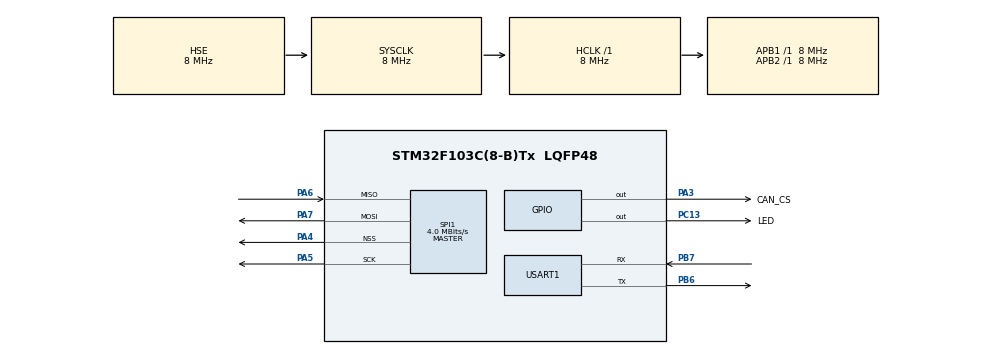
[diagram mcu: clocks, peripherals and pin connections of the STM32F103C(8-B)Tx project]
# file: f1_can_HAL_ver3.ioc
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Mcu.Family=STM32F1
Mcu.Name=STM32F103C(8-B)Tx
Mcu.Package=LQFP48
NVIC.PriorityGroup=NVIC_PRIORITYGROUP_4
PA13.Mode=Serial_Wire
PA13.Signal=SYS_JTMS-SWDIO
PA14.Mode=Serial_Wire
PA14.Signal=SYS_JTCK-SWCLK
PA3.GPIO_Label=CAN_CS
PA3.Signal=GPIO_Output
PA4.Mode=NSS_Signal_Hard_Output
PA4.Signal=SPI1_NSS
PA5.Mode=Full_Duplex_Master
PA5.Signal=SPI1_SCK
PA6.Mode=Full_Duplex_Master
PA6.Signal=SPI1_MISO
PA7.Mode=Full_Duplex_Master
PA7.Signal=SPI1_MOSI
PB6.Mode=Asynchronous
PB6.Signal=USART1_TX
PB7.Mode=Asynchronous
PB7.Signal=USART1_RX
PC13-TAMPER-RTC.GPIO_Label=LED
PC13-TAMPER-RTC.Signal=GPIO_Output
PD0-OSC_IN.Mode=HSE-External-Oscillator
PD0-OSC_IN.Signal=RCC_OSC_IN
PD1-OSC_OUT.Mode=HSE-External-Oscillator
PD1-OSC_OUT.Signal=RCC_OSC_OUT
ProjectManager.HeapSize=0x200
ProjectManager.StackSize=0x400
ProjectManager.TargetToolchain=STM32CubeIDE
RCC.AHBFreq_Value=8000000
RCC.APB1Freq_Value=8000000
RCC.APB1TimFreq_Value=8000000
RCC.APB2Freq_Value=8000000
RCC.APB2TimFreq_Value=8000000
RCC.HCLKFreq_Value=8000000
RCC.PLLMUL=RCC_PLL_MUL4
RCC.SYSCLKFreq_VALUE=8000000
RCC.SYSCLKSource=RCC_SYSCLKSOURCE_HSE
RCC.USBFreq_Value=16000000
SPI1.CalculateBaudRate=4.0 MBits/s
SPI1.Direction=SPI_DIRECTION_2LINES
SPI1.Mode=SPI_MODE_MASTER
SPI1.VirtualNSS=VM_NSSHARD
SPI1.VirtualType=VM_MASTER
USART1.VirtualMode=VM_ASYNC
board=custom

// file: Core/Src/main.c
/* USER CODE BEGIN Header */
/**
  ******************************************************************************
  * @file           : main.c
  * @brief          : Main program body
  ******************************************************************************
  * @attention
  *
  * Copyright (c) 2024 STMicroelectronics.
  * All rights reserved.
  *
  * This software is licensed under terms that can be found in the LICENSE file
  * in the root directory of this software component.
  * If no LICENSE file comes with this software, it is provided AS-IS.
  *
  ******************************************************************************
  */
/* USER CODE END Header */
#include "main.h"

/* USER CODE BEGIN Includes */
#include "CANSPI.h"
/* USER CODE END Includes */

SPI_HandleTypeDef hspi1;

UART_HandleTypeDef huart1;

/* USER CODE BEGIN PV */
uCAN_MSG txMessage;
uCAN_MSG rxMessage;
uint8_t msg[30] = "Initialization fail\n";
uint8_t msg1[30] = "Success\n";
uint8_t msg2[30] = "Fail\n";
uint8_t data_out[8] = {0, 1, 2, 3, 4, 5, 6, 7};
/* USER CODE END PV */

void SystemClock_Config(void);
static void MX_GPIO_Init(void);
static void MX_SPI1_Init(void);
static void MX_USART1_UART_Init(void);

int main(void)
{

  /* MCU Configuration--------------------------------------------------------*/

  /* Reset of all peripherals, Initializes the Flash interface and the Systick. */
  HAL_Init();

  /* Configure the system clock */
  SystemClock_Config();

  /* Initialize all configured peripherals */
  MX_GPIO_Init();
  MX_SPI1_Init();
  MX_USART1_UART_Init();
  /* USER CODE BEGIN 2 */
  if (!CANSPI_Initialize())
      {
        while (1)
        {

          HAL_UART_Transmit(&huart1, msg, 30, 100);
          HAL_Delay(200);
        }
      }
  HAL_Delay(3000);
  /* USER CODE END 2 */

  /* Infinite loop */
  while (1)
  {

    /* USER CODE BEGIN 3 */
//	  	  txMessage.frame.idType = dSTANDARD_CAN_MSG_ID_2_0B;
//	  	      txMessage.frame.id = 0x123;
//	  	      txMessage.frame.dlc = 8;
//	  	      txMessage.frame.data0 = 0;
//	  	      txMessage.frame.data1 = 2;
//	  	      txMessage.frame.data2 = 4;
//	  	      txMessage.frame.data3 = 6;
//	  	      txMessage.frame.data4 = 8;
//	  	      txMessage.frame.data5 = 10;
//	  	      txMessage.frame.data6 = 12;
//	  	      txMessage.frame.data7 = 14;
//	  	      if (CANSPI_Transmit(&txMessage))
//	  	      {
//	  	        HAL_UART_Transmit(&huart1, msg1, 30, 100);
//	  	        HAL_GPIO_TogglePin(GPIOC, GPIO_PIN_13);
//	  	      }
	  	      //	  HAL_UART_Transmit(&huart1,Transmit(data_out), 10, 1000);
	  	      //	  HAL_UART_Transmit(&huart1, '\n', 1, 1000);
	  	          if (Transmit(data_out))
	  	          {
	  	            HAL_UART_Transmit(&huart1, msg1, 30, 100);
	  	            HAL_GPIO_TogglePin(GPIOC, GPIO_PIN_13);
	  	          }
	  	          else
	  	        	HAL_UART_Transmit(&huart1, msg2, 30, 100);
	  	          HAL_Delay(3000);
  }
  /* USER CODE END 3 */
}

void SystemClock_Config(void)
{
  RCC_OscInitTypeDef RCC_OscInitStruct = {0};
  RCC_ClkInitTypeDef RCC_ClkInitStruct = {0};

  /** Initializes the RCC Oscillators according to the specified parameters
  * in the RCC_OscInitTypeDef structure.
  */
  RCC_OscInitStruct.OscillatorType = RCC_OSCILLATORTYPE_HSE;
  RCC_OscInitStruct.HSEState = RCC_HSE_ON;
  RCC_OscInitStruct.PLL.PLLState = RCC_PLL_NONE;
  if (HAL_RCC_OscConfig(&RCC_OscInitStruct) != HAL_OK)
  {
    Error_Handler();
  }

  /** Initializes the CPU, AHB and APB buses clocks
  */
  RCC_ClkInitStruct.ClockType = RCC_CLOCKTYPE_HCLK|RCC_CLOCKTYPE_SYSCLK
                              |RCC_CLOCKTYPE_PCLK1|RCC_CLOCKTYPE_PCLK2;
  RCC_ClkInitStruct.SYSCLKSource = RCC_SYSCLKSOURCE_HSE;
  RCC_ClkInitStruct.AHBCLKDivider = RCC_SYSCLK_DIV1;
  RCC_ClkInitStruct.APB1CLKDivider = RCC_HCLK_DIV1;
  RCC_ClkInitStruct.APB2CLKDivider = RCC_HCLK_DIV1;

  if (HAL_RCC_ClockConfig(&RCC_ClkInitStruct, FLASH_LATENCY_0) != HAL_OK)
  {
    Error_Handler();
  }
}

static void MX_SPI1_Init(void)
{

  /* SPI1 parameter configuration*/
  hspi1.Instance = SPI1;
  hspi1.Init.Mode = SPI_MODE_MASTER;
  hspi1.Init.Direction = SPI_DIRECTION_2LINES;
  hspi1.Init.DataSize = SPI_DATASIZE_8BIT;
  hspi1.Init.CLKPolarity = SPI_POLARITY_LOW;
  hspi1.Init.CLKPhase = SPI_PHASE_1EDGE;
  hspi1.Init.NSS = SPI_NSS_HARD_OUTPUT;
  hspi1.Init.BaudRatePrescaler = SPI_BAUDRATEPRESCALER_2;
  hspi1.Init.FirstBit = SPI_FIRSTBIT_MSB;
  hspi1.Init.TIMode = SPI_TIMODE_DISABLE;
  hspi1.Init.CRCCalculation = SPI_CRCCALCULATION_DISABLE;
  hspi1.Init.CRCPolynomial = 10;
  if (HAL_SPI_Init(&hspi1) != HAL_OK)
  {
    Error_Handler();
  }

}

static void MX_USART1_UART_Init(void)
{

  huart1.Instance = USART1;
  huart1.Init.BaudRate = 115200;
  huart1.Init.WordLength = UART_WORDLENGTH_8B;
  huart1.Init.StopBits = UART_STOPBITS_1;
  huart1.Init.Parity = UART_PARITY_NONE;
  huart1.Init.Mode = UART_MODE_TX_RX;
  huart1.Init.HwFlowCtl = UART_HWCONTROL_NONE;
  huart1.Init.OverSampling = UART_OVERSAMPLING_16;
  if (HAL_UART_Init(&huart1) != HAL_OK)
  {
    Error_Handler();
  }

}

static void MX_GPIO_Init(void)
{
  GPIO_InitTypeDef GPIO_InitStruct = {0};

  /* GPIO Ports Clock Enable */
  __HAL_RCC_GPIOC_CLK_ENABLE();
  __HAL_RCC_GPIOD_CLK_ENABLE();
  __HAL_RCC_GPIOA_CLK_ENABLE();
  __HAL_RCC_GPIOB_CLK_ENABLE();

  /*Configure GPIO pin Output Level */
  HAL_GPIO_WritePin(LED_GPIO_Port, LED_Pin, GPIO_PIN_RESET);

  /*Configure GPIO pin Output Level */
  HAL_GPIO_WritePin(CAN_CS_GPIO_Port, CAN_CS_Pin, GPIO_PIN_RESET);

  /*Configure GPIO pin : LED_Pin */
  GPIO_InitStruct.Pin = LED_Pin;
  GPIO_InitStruct.Mode = GPIO_MODE_OUTPUT_PP;
  GPIO_InitStruct.Pull = GPIO_NOPULL;
  GPIO_InitStruct.Speed = GPIO_SPEED_FREQ_LOW;
  HAL_GPIO_Init(LED_GPIO_Port, &GPIO_InitStruct);

  /*Configure GPIO pin : CAN_CS_Pin */
  GPIO_InitStruct.Pin = CAN_CS_Pin;
  GPIO_InitStruct.Mode = GPIO_MODE_OUTPUT_PP;
  GPIO_InitStruct.Pull = GPIO_NOPULL;
  GPIO_InitStruct.Speed = GPIO_SPEED_FREQ_LOW;
  HAL_GPIO_Init(CAN_CS_GPIO_Port, &GPIO_InitStruct);

}

void Error_Handler(void)
{
  __disable_irq();
  while (1)
  {
  }
}
